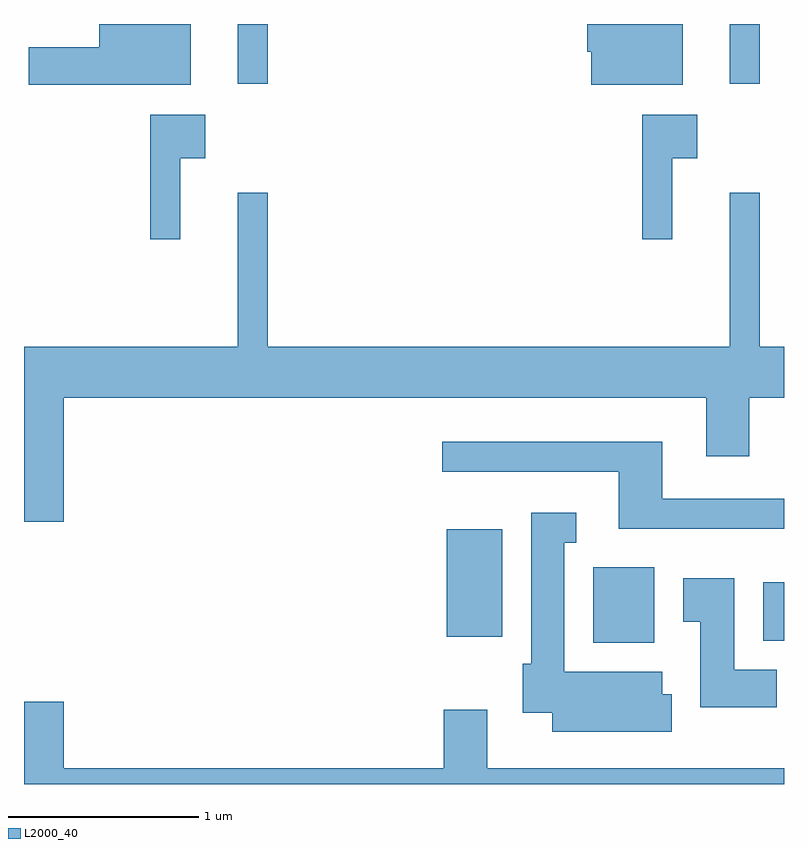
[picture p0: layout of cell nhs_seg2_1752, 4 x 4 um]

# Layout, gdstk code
import gdstk
lib = gdstk.Library(unit=1e-6, precision=1e-09)
def R(c, l, rs):  # rectangles x0, y0, x1, y1
    for r in rs: c.add(gdstk.rectangle(r[:2], r[2:], *l))
def P(c, l, *ps):  # polygons
    for p in ps: c.add(gdstk.Polygon(p, *l))
L2000_40 = (2000, 40)

nhs_seg2_1752 = lib.new_cell('nhs_seg2_1752')
R(nhs_seg2_1752, L2000_40, [(238.606,1082.546,238.929,1082.944), (239.501,1082.556,239.611,1082.864), (237.836,1082.576,238.129,1083.144), (236.736,1085.488,236.894,1085.802), (239.326,1085.488,239.484,1085.802)])
P(nhs_seg2_1752, L2000_40, [(239.079,1085.802),(238.576,1085.802),(238.576,1085.656),(238.596,1085.656),(238.596,1085.481),(239.079,1085.481)],
  [(236.489,1085.802),(236.006,1085.802),(236.006,1085.679),(235.636,1085.679),(235.636,1085.481),(236.489,1085.481)],
  [(239.024,1085.096),(239.154,1085.096),(239.154,1085.324),(238.866,1085.324),(238.866,1084.668),(239.024,1084.668)],
  [(236.434,1085.096),(236.564,1085.096),(236.564,1085.324),(236.276,1085.324),(236.276,1084.668),(236.434,1084.668)],
  [(235.819,1083.836),(239.201,1083.836),(239.201,1083.526),(239.429,1083.526),(239.429,1083.836),(239.611,1083.836),(239.611,1084.104),(239.484,1084.104),(239.484,1084.913),(239.326,1084.913),(239.326,1084.104),(236.894,1084.104),(236.894,1084.913),(236.736,1084.913),(236.736,1084.104),(235.611,1084.104),(235.611,1083.181),(235.819,1083.181)],
  [(239.611,1083.304),(238.969,1083.304),(238.969,1083.604),(237.813,1083.604),(237.813,1083.446),(238.741,1083.446),(238.741,1083.146),(239.611,1083.146)],
  [(239.019,1082.274),(238.969,1082.274),(238.969,1082.394),(238.454,1082.394),(238.454,1083.071),(238.518,1083.071),(238.518,1083.229),(238.281,1083.229),(238.281,1082.434),(238.236,1082.434),(238.236,1082.176),(238.391,1082.176),(238.391,1082.076),(239.019,1082.076)],
  [(239.574,1082.404),(239.349,1082.404),(239.349,1082.884),(239.081,1082.884),(239.081,1082.656),(239.171,1082.656),(239.171,1082.206),(239.574,1082.206)],
  [(235.819,1082.234),(235.611,1082.234),(235.611,1081.802),(239.611,1081.802),(239.611,1081.884),(238.049,1081.884),(238.049,1082.194),(237.821,1082.194),(237.821,1081.884),(235.819,1081.884)])

lib.write_gds('nhs_seg2_1752.gds')
